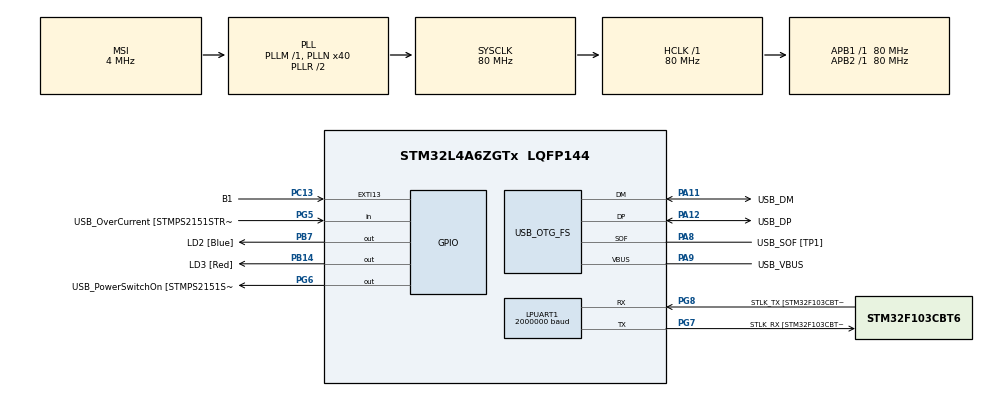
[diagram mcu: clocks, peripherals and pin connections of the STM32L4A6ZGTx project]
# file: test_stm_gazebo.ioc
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Dma.LPUART_RX.0.Direction=DMA_PERIPH_TO_MEMORY
Dma.LPUART_RX.0.Instance=DMA2_Channel7
Dma.LPUART_RX.0.MemDataAlignment=DMA_MDATAALIGN_BYTE
Dma.LPUART_RX.0.MemInc=DMA_MINC_ENABLE
Dma.LPUART_RX.0.Mode=DMA_CIRCULAR
Dma.LPUART_RX.0.PeriphDataAlignment=DMA_PDATAALIGN_BYTE
Dma.LPUART_RX.0.PeriphInc=DMA_PINC_DISABLE
Dma.LPUART_RX.0.Priority=DMA_PRIORITY_HIGH
Dma.Request0=LPUART_RX
LPUART1.AutoBaudRateEnableParam=UART_ADVFEATURE_AUTOBAUDRATE_DISABLE
LPUART1.BaudRate=2000000
LPUART1.DMADisableonRxErrorParam=UART_ADVFEATURE_DMA_ENABLEONRXERROR
LPUART1.DataInvertParam=UART_ADVFEATURE_DATAINV_DISABLE
LPUART1.MSBFirstParam=UART_ADVFEATURE_MSBFIRST_DISABLE
LPUART1.Mode=UART_MODE_TX_RX
LPUART1.OneBitSampling=UART_ONE_BIT_SAMPLE_DISABLE
LPUART1.OverrunDisableParam=UART_ADVFEATURE_OVERRUN_DISABLE
LPUART1.Parity=UART_PARITY_NONE
LPUART1.RxPinLevelInvertParam=UART_ADVFEATURE_RXINV_DISABLE
LPUART1.StopBits=UART_STOPBITS_1
LPUART1.SwapParam=UART_ADVFEATURE_SWAP_DISABLE
LPUART1.TxPinLevelInvertParam=UART_ADVFEATURE_TXINV_DISABLE
LPUART1.WordLength=UART_WORDLENGTH_8B
Mcu.Family=STM32L4
Mcu.Name=STM32L4A6ZGTx
Mcu.Package=LQFP144
NVIC.DMA2_Channel7_IRQn=true\:0\:0\:false\:false\:true\:false\:true\:true
NVIC.PriorityGroup=NVIC_PRIORITYGROUP_4
PA10.GPIO_Label=USB_ID
PA10.Signal=USB_OTG_FS_ID
PA11.GPIO_Label=USB_DM
PA11.Mode=Device_Only
PA11.Signal=USB_OTG_FS_DM
PA12.GPIO_Label=USB_DP
PA12.Mode=Device_Only
PA12.Signal=USB_OTG_FS_DP
PA13\ (JTMS/SWDIO).GPIO_Label=TMS
PA13\ (JTMS/SWDIO).Mode=Trace_Asynchronous_SW
PA13\ (JTMS/SWDIO).Signal=SYS_JTMS-SWDIO
PA14\ (JTCK/SWCLK).GPIO_Label=TCK
PA14\ (JTCK/SWCLK).Mode=Trace_Asynchronous_SW
PA14\ (JTCK/SWCLK).Signal=SYS_JTCK-SWCLK
PA8.GPIO_Label=USB_SOF [TP1]
PA8.Mode=Activate_SOF_FS
PA8.Signal=USB_OTG_FS_SOF
PA9.GPIO_Label=USB_VBUS
PA9.Mode=Activate_VBUS
PA9.Signal=USB_OTG_FS_VBUS
PB14.GPIO_Label=LD3 [Red]
PB14.Signal=GPIO_Output
PB3\ (JTDO/TRACESWO).GPIO_Label=SWO
PB3\ (JTDO/TRACESWO).Mode=Trace_Asynchronous_SW
PB3\ (JTDO/TRACESWO).Signal=SYS_JTDO-SWO
PB7.GPIO_Label=LD2 [Blue]
PB7.Signal=GPIO_Output
PC13.GPIO_Label=B1
PC13.Signal=GPXTI13
PC14-OSC32_IN\ (PC14).Mode=LSE-External-Oscillator
PC14-OSC32_IN\ (PC14).Signal=RCC_OSC32_IN
PC15-OSC32_OUT\ (PC15).Mode=LSE-External-Oscillator
PC15-OSC32_OUT\ (PC15).Signal=RCC_OSC32_OUT
PG5.GPIO_Label=USB_OverCurrent [STMPS2151STR_FAULT]
PG5.Signal=GPIO_Input
PG6.GPIO_Label=USB_PowerSwitchOn [STMPS2151STR_EN]
PG6.Signal=GPIO_Output
PG7.GPIO_Label=STLK_RX [STM32F103CBT6_PA3]
PG7.Mode=Asynchronous
PG7.Signal=LPUART1_TX
PG8.GPIO_Label=STLK_TX [STM32F103CBT6_PA2]
PG8.Mode=Asynchronous
PG8.Signal=LPUART1_RX
PH1-OSC_OUT\ (PH1).Signal=RCC_OSC_OUT
ProjectManager.HeapSize=0x200
ProjectManager.StackSize=0x400
ProjectManager.TargetToolchain=CMake
RCC.ADCFreq_Value=48000000
RCC.AHBFreq_Value=80000000
RCC.APB1CLKDivider=RCC_HCLK_DIV1
RCC.APB1Freq_Value=80000000
RCC.APB1TimFreq_Value=80000000
RCC.APB2Freq_Value=80000000
RCC.APB2TimFreq_Value=80000000
RCC.CortexFreq_Value=80000000
RCC.FLatency=FLASH_LATENCY_4
RCC.HCLKFreq_Value=80000000
RCC.HSE_VALUE=8000000
RCC.HSI48_VALUE=48000000
RCC.HSI_VALUE=16000000
RCC.MSI_VALUE=4000000
RCC.PLLN=40
RCC.PLLR=RCC_PLLR_DIV2
RCC.PLLSAI1N=24
RCC.SYSCLKFreq_VALUE=80000000
RCC.SYSCLKSource=RCC_SYSCLKSOURCE_PLLCLK
RCC.USBFreq_Value=48000000
RCC.VCOOutputFreq_Value=160000000
USB_OTG_FS.Sof_enable=ENABLE
USB_OTG_FS.VirtualMode=Device_Only
USB_OTG_FS.battery_charging_enable=ENABLE
USB_OTG_FS.low_power_enable=DISABLE
USB_OTG_FS.lpm_enable=DISABLE
USB_OTG_FS.use_dedicated_ep1=DISABLE
USB_OTG_FS.vbus_sensing_enable=ENABLE
board=NUCLEO-L4A6ZG

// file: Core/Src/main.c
/* USER CODE BEGIN Header */
/**
  ******************************************************************************
  * @file           : main.c
  * @brief          : Main program body
  ******************************************************************************
  * @attention
  *
  * Copyright (c) 2026 STMicroelectronics.
  * All rights reserved.
  *
  * This software is licensed under terms that can be found in the LICENSE file
  * in the root directory of this software component.
  * If no LICENSE file comes with this software, it is provided AS-IS.
  *
  ******************************************************************************
  */
/* USER CODE END Header */
#include "main.h"

/* USER CODE BEGIN Includes */
#include <math.h>
#include <stdint.h>
#include <stdlib.h>
#include <string.h>
/* USER CODE END Includes */

/* USER CODE BEGIN PTD */
/* Drive modes, cycled with the blue user button B1. */
typedef enum
{
  MODE_STOP = 0,
  MODE_FORWARD,
  MODE_CIRCLE,
  MODE_RETURN_HOME, /* closed loop: drives back to (0,0) using odometry from Gazebo */
  MODE_COUNT
} DriveMode;

typedef struct
{
  int32_t x_mm;
  int32_t y_mm;
  int16_t yaw_mrad;
  int16_t v_mm_s;
} Odom;
/* USER CODE END PTD */

/* USER CODE BEGIN PD */
/*
 * Frame (both directions): 0xAA 0x55 | type | len | payload[len] | crc8
 * crc8: poly 0x07, init 0x00, over type, len and payload. Little-endian payload.
 *   MSG_CMD  (MCU -> host, len 6):  int16 vx [mm/s], int16 wz [mrad/s], uint8 mode, uint8 seq
 *   MSG_ODOM (host -> MCU, len 12): int32 x [mm], int32 y [mm], int16 yaw [mrad], int16 v [mm/s]
 */
#define SYNC1           0xAAu
#define SYNC2           0x55u
#define MSG_CMD         0x01u
#define MSG_ODOM        0x02u
#define MAX_PAYLOAD     16u

#define RX_BUF_SIZE     256u
#define CONTROL_PERIOD_MS 20u   /* 50 Hz */
#define LINK_TIMEOUT_MS 500u
#define MOVING_MM_S     50
/* USER CODE END PD */

UART_HandleTypeDef hlpuart1;
DMA_HandleTypeDef hdma_lpuart_rx;

PCD_HandleTypeDef hpcd_USB_OTG_FS;

/* USER CODE BEGIN PV */
static uint8_t rx_buf[RX_BUF_SIZE];   /* DMA circular RX buffer */
static uint16_t rx_tail;

static DriveMode mode = MODE_STOP;
static Odom odom;
static uint32_t last_odom_tick;
static uint8_t has_odom;
static uint8_t tx_seq;
/* USER CODE END PV */

void SystemClock_Config(void);
static void MX_GPIO_Init(void);
static void MX_DMA_Init(void);
static void MX_LPUART1_UART_Init(void);
static void MX_USB_OTG_FS_PCD_Init(void);
/* USER CODE BEGIN PFP */
static uint8_t crc8(const uint8_t *data, uint16_t len);
static void send_cmd(int16_t vx_mm_s, int16_t wz_mrad_s);
static void poll_rx(void);
static void compute_cmd(int16_t *vx_mm_s, int16_t *wz_mrad_s);
/* USER CODE END PFP */

int main(void)
{

  /* MCU Configuration--------------------------------------------------------*/

  /* Reset of all peripherals, Initializes the Flash interface and the Systick. */
  HAL_Init();

  /* Configure the system clock */
  SystemClock_Config();

  /* Initialize all configured peripherals */
  MX_GPIO_Init();
  MX_DMA_Init();
  MX_LPUART1_UART_Init();
  MX_USB_OTG_FS_PCD_Init();
  /* USER CODE BEGIN 2 */
  /* RX runs forever in circular DMA; the loop polls the DMA counter, so no UART IRQ is needed.
     Overrun detection is disabled in the .ioc, so a burst can never stall reception. */
  if (HAL_UART_Receive_DMA(&hlpuart1, rx_buf, RX_BUF_SIZE) != HAL_OK)
  {
    Error_Handler();
  }

  uint32_t next_tick = HAL_GetTick();
  GPIO_PinState btn_prev = GPIO_PIN_RESET;
  /* USER CODE END 2 */

  /* Infinite loop */
  while (1)
  {

    /* USER CODE BEGIN 3 */
    poll_rx();

    uint32_t now = HAL_GetTick();
    if ((int32_t)(now - next_tick) < 0)
    {
      continue;
    }
    next_tick += CONTROL_PERIOD_MS;

    /* B1 is active high on Nucleo-144; sampling at 50 Hz debounces it. */
    GPIO_PinState btn = HAL_GPIO_ReadPin(B1_GPIO_Port, B1_Pin);
    if (btn == GPIO_PIN_SET && btn_prev == GPIO_PIN_RESET)
    {
      mode = (DriveMode)((mode + 1) % MODE_COUNT);
    }
    btn_prev = btn;

    int16_t vx, wz;
    compute_cmd(&vx, &wz);
    send_cmd(vx, wz);

    uint8_t link_ok = has_odom && (now - last_odom_tick) < LINK_TIMEOUT_MS;
    HAL_GPIO_WritePin(LD3_GPIO_Port, LD3_Pin, link_ok ? GPIO_PIN_RESET : GPIO_PIN_SET);
    HAL_GPIO_WritePin(LD2_GPIO_Port, LD2_Pin,
                      (link_ok && abs(odom.v_mm_s) > MOVING_MM_S) ? GPIO_PIN_SET : GPIO_PIN_RESET);
  }
  /* USER CODE END 3 */
}

void SystemClock_Config(void)
{
  RCC_OscInitTypeDef RCC_OscInitStruct = {0};
  RCC_ClkInitTypeDef RCC_ClkInitStruct = {0};

  /** Configure the main internal regulator output voltage
  */
  if (HAL_PWREx_ControlVoltageScaling(PWR_REGULATOR_VOLTAGE_SCALE1) != HAL_OK)
  {
    Error_Handler();
  }

  /** Configure LSE Drive Capability
  */
  HAL_PWR_EnableBkUpAccess();
  __HAL_RCC_LSEDRIVE_CONFIG(RCC_LSEDRIVE_LOW);

  /** Initializes the RCC Oscillators according to the specified parameters
  * in the RCC_OscInitTypeDef structure.
  */
  RCC_OscInitStruct.OscillatorType = RCC_OSCILLATORTYPE_LSE|RCC_OSCILLATORTYPE_MSI;
  RCC_OscInitStruct.LSEState = RCC_LSE_ON;
  RCC_OscInitStruct.MSIState = RCC_MSI_ON;
  RCC_OscInitStruct.MSICalibrationValue = 0;
  RCC_OscInitStruct.MSIClockRange = RCC_MSIRANGE_6;
  RCC_OscInitStruct.PLL.PLLState = RCC_PLL_ON;
  RCC_OscInitStruct.PLL.PLLSource = RCC_PLLSOURCE_MSI;
  RCC_OscInitStruct.PLL.PLLM = 1;
  RCC_OscInitStruct.PLL.PLLN = 40;
  RCC_OscInitStruct.PLL.PLLP = RCC_PLLP_DIV2;
  RCC_OscInitStruct.PLL.PLLQ = RCC_PLLQ_DIV2;
  RCC_OscInitStruct.PLL.PLLR = RCC_PLLR_DIV2;
  if (HAL_RCC_OscConfig(&RCC_OscInitStruct) != HAL_OK)
  {
    Error_Handler();
  }

  /** Initializes the CPU, AHB and APB buses clocks
  */
  RCC_ClkInitStruct.ClockType = RCC_CLOCKTYPE_HCLK|RCC_CLOCKTYPE_SYSCLK
                              |RCC_CLOCKTYPE_PCLK1|RCC_CLOCKTYPE_PCLK2;
  RCC_ClkInitStruct.SYSCLKSource = RCC_SYSCLKSOURCE_PLLCLK;
  RCC_ClkInitStruct.AHBCLKDivider = RCC_SYSCLK_DIV1;
  RCC_ClkInitStruct.APB1CLKDivider = RCC_HCLK_DIV1;
  RCC_ClkInitStruct.APB2CLKDivider = RCC_HCLK_DIV1;

  if (HAL_RCC_ClockConfig(&RCC_ClkInitStruct, FLASH_LATENCY_4) != HAL_OK)
  {
    Error_Handler();
  }

  /** Enable MSI Auto calibration
  */
  HAL_RCCEx_EnableMSIPLLMode();
}

static void MX_LPUART1_UART_Init(void)
{

  hlpuart1.Instance = LPUART1;
  hlpuart1.Init.BaudRate = 2000000;
  hlpuart1.Init.WordLength = UART_WORDLENGTH_8B;
  hlpuart1.Init.StopBits = UART_STOPBITS_1;
  hlpuart1.Init.Parity = UART_PARITY_NONE;
  hlpuart1.Init.Mode = UART_MODE_TX_RX;
  hlpuart1.Init.HwFlowCtl = UART_HWCONTROL_NONE;
  hlpuart1.Init.OneBitSampling = UART_ONE_BIT_SAMPLE_DISABLE;
  hlpuart1.AdvancedInit.AdvFeatureInit = UART_ADVFEATURE_RXOVERRUNDISABLE_INIT;
  hlpuart1.AdvancedInit.OverrunDisable = UART_ADVFEATURE_OVERRUN_DISABLE;
  if (HAL_UART_Init(&hlpuart1) != HAL_OK)
  {
    Error_Handler();
  }

}

static void MX_USB_OTG_FS_PCD_Init(void)
{

  hpcd_USB_OTG_FS.Instance = USB_OTG_FS;
  hpcd_USB_OTG_FS.Init.dev_endpoints = 6;
  hpcd_USB_OTG_FS.Init.speed = PCD_SPEED_FULL;
  hpcd_USB_OTG_FS.Init.phy_itface = PCD_PHY_EMBEDDED;
  hpcd_USB_OTG_FS.Init.Sof_enable = ENABLE;
  hpcd_USB_OTG_FS.Init.low_power_enable = DISABLE;
  hpcd_USB_OTG_FS.Init.lpm_enable = DISABLE;
  hpcd_USB_OTG_FS.Init.battery_charging_enable = ENABLE;
  hpcd_USB_OTG_FS.Init.use_dedicated_ep1 = DISABLE;
  hpcd_USB_OTG_FS.Init.vbus_sensing_enable = ENABLE;
  if (HAL_PCD_Init(&hpcd_USB_OTG_FS) != HAL_OK)
  {
    Error_Handler();
  }

}

static void MX_DMA_Init(void)
{

  /* DMA controller clock enable */
  __HAL_RCC_DMA2_CLK_ENABLE();

  /* DMA interrupt init */
  /* DMA2_Channel7_IRQn interrupt configuration */
  HAL_NVIC_SetPriority(DMA2_Channel7_IRQn, 0, 0);
  HAL_NVIC_EnableIRQ(DMA2_Channel7_IRQn);

}

static void MX_GPIO_Init(void)
{
  GPIO_InitTypeDef GPIO_InitStruct = {0};

  /* GPIO Ports Clock Enable */
  __HAL_RCC_GPIOC_CLK_ENABLE();
  __HAL_RCC_GPIOH_CLK_ENABLE();
  __HAL_RCC_GPIOB_CLK_ENABLE();
  __HAL_RCC_GPIOG_CLK_ENABLE();
  HAL_PWREx_EnableVddIO2();
  __HAL_RCC_GPIOA_CLK_ENABLE();

  /*Configure GPIO pin Output Level */
  HAL_GPIO_WritePin(GPIOB, LD3_Pin|LD2_Pin, GPIO_PIN_RESET);

  /*Configure GPIO pin Output Level */
  HAL_GPIO_WritePin(USB_PowerSwitchOn_GPIO_Port, USB_PowerSwitchOn_Pin, GPIO_PIN_RESET);

  /*Configure GPIO pin : B1_Pin */
  GPIO_InitStruct.Pin = B1_Pin;
  GPIO_InitStruct.Mode = GPIO_MODE_IT_RISING;
  GPIO_InitStruct.Pull = GPIO_NOPULL;
  HAL_GPIO_Init(B1_GPIO_Port, &GPIO_InitStruct);

  /*Configure GPIO pins : LD3_Pin LD2_Pin */
  GPIO_InitStruct.Pin = LD3_Pin|LD2_Pin;
  GPIO_InitStruct.Mode = GPIO_MODE_OUTPUT_PP;
  GPIO_InitStruct.Pull = GPIO_NOPULL;
  GPIO_InitStruct.Speed = GPIO_SPEED_FREQ_LOW;
  HAL_GPIO_Init(GPIOB, &GPIO_InitStruct);

  /*Configure GPIO pin : USB_OverCurrent_Pin */
  GPIO_InitStruct.Pin = USB_OverCurrent_Pin;
  GPIO_InitStruct.Mode = GPIO_MODE_INPUT;
  GPIO_InitStruct.Pull = GPIO_NOPULL;
  HAL_GPIO_Init(USB_OverCurrent_GPIO_Port, &GPIO_InitStruct);

  /*Configure GPIO pin : USB_PowerSwitchOn_Pin */
  GPIO_InitStruct.Pin = USB_PowerSwitchOn_Pin;
  GPIO_InitStruct.Mode = GPIO_MODE_OUTPUT_PP;
  GPIO_InitStruct.Pull = GPIO_NOPULL;
  GPIO_InitStruct.Speed = GPIO_SPEED_FREQ_LOW;
  HAL_GPIO_Init(USB_PowerSwitchOn_GPIO_Port, &GPIO_InitStruct);

}

/* USER CODE BEGIN 4 */
static uint8_t crc8(const uint8_t *data, uint16_t len)
{
  uint8_t crc = 0;
  while (len--)
  {
    crc ^= *data++;
    for (uint8_t i = 0; i < 8; i++)
    {
      crc = (crc & 0x80u) ? (uint8_t)((crc << 1) ^ 0x07u) : (uint8_t)(crc << 1);
    }
  }
  return crc;
}

static void send_cmd(int16_t vx_mm_s, int16_t wz_mrad_s)
{
  uint8_t f[2 + 2 + 6 + 1];
  f[0] = SYNC1;
  f[1] = SYNC2;
  f[2] = MSG_CMD;
  f[3] = 6;
  memcpy(&f[4], &vx_mm_s, 2);   /* Cortex-M4 is little-endian */
  memcpy(&f[6], &wz_mrad_s, 2);
  f[8] = (uint8_t)mode;
  f[9] = tx_seq++;
  f[10] = crc8(&f[2], 2 + 6);
  HAL_UART_Transmit(&hlpuart1, f, sizeof(f), 5);
}

static void handle_frame(uint8_t type, const uint8_t *p, uint8_t len)
{
  if (type == MSG_ODOM && len == 12)
  {
    memcpy(&odom.x_mm, &p[0], 4);
    memcpy(&odom.y_mm, &p[4], 4);
    memcpy(&odom.yaw_mrad, &p[8], 2);
    memcpy(&odom.v_mm_s, &p[10], 2);
    last_odom_tick = HAL_GetTick();
    has_odom = 1;
  }
}

/* Byte-wise parser fed from the DMA ring buffer. */
static void poll_rx(void)
{
  static enum { S_SYNC1, S_SYNC2, S_TYPE, S_LEN, S_DATA, S_CRC } st = S_SYNC1;
  static uint8_t hdr[2 + MAX_PAYLOAD]; /* type, len, payload */
  static uint8_t idx;

  uint16_t head = RX_BUF_SIZE - (uint16_t)__HAL_DMA_GET_COUNTER(hlpuart1.hdmarx);
  if (head >= RX_BUF_SIZE)
  {
    head = 0;
  }

  while (rx_tail != head)
  {
    uint8_t b = rx_buf[rx_tail];
    rx_tail = (rx_tail + 1) % RX_BUF_SIZE;

    switch (st)
    {
      case S_SYNC1: st = (b == SYNC1) ? S_SYNC2 : S_SYNC1; break;
      case S_SYNC2: st = (b == SYNC2) ? S_TYPE : ((b == SYNC1) ? S_SYNC2 : S_SYNC1); break;
      case S_TYPE:  hdr[0] = b; st = S_LEN; break;
      case S_LEN:
        hdr[1] = b;
        idx = 0;
        st = (b > MAX_PAYLOAD) ? S_SYNC1 : ((b == 0) ? S_CRC : S_DATA);
        break;
      case S_DATA:
        hdr[2 + idx++] = b;
        if (idx >= hdr[1])
        {
          st = S_CRC;
        }
        break;
      case S_CRC:
        if (crc8(hdr, (uint16_t)(2 + hdr[1])) == b)
        {
          handle_frame(hdr[0], &hdr[2], hdr[1]);
        }
        st = S_SYNC1;
        break;
    }
  }
}

static int16_t clamp16(float v, float lim)
{
  if (v > lim) v = lim;
  if (v < -lim) v = -lim;
  return (int16_t)v;
}

static void compute_cmd(int16_t *vx_mm_s, int16_t *wz_mrad_s)
{
  *vx_mm_s = 0;
  *wz_mrad_s = 0;

  switch (mode)
  {
    case MODE_FORWARD:
      *vx_mm_s = 800;
      break;
    case MODE_CIRCLE:
      *vx_mm_s = 600;
      *wz_mrad_s = 500;
      break;
    case MODE_RETURN_HOME:
    {
      /* P-controller to the odometry origin (robot spawn pose). Needs live odometry. */
      if (!has_odom || (HAL_GetTick() - last_odom_tick) >= LINK_TIMEOUT_MS)
      {
        break;
      }
      float dx = -(float)odom.x_mm;
      float dy = -(float)odom.y_mm;
      float dist = sqrtf(dx * dx + dy * dy);
      if (dist < 150.0f)
      {
        break;
      }
      float err = atan2f(dy, dx) - (float)odom.yaw_mrad / 1000.0f;
      err = atan2f(sinf(err), cosf(err)); /* wrap to [-pi, pi] */
      *wz_mrad_s = clamp16(2000.0f * err, 1500.0f);
      /* Turn in place first, then drive. */
      *vx_mm_s = (fabsf(err) > 0.5f) ? 0 : clamp16(0.8f * dist, 800.0f);
      break;
    }
    default:
      break;
  }
}
/* USER CODE END 4 */

void Error_Handler(void)
{
  __disable_irq();
  while (1)
  {
  }
}
